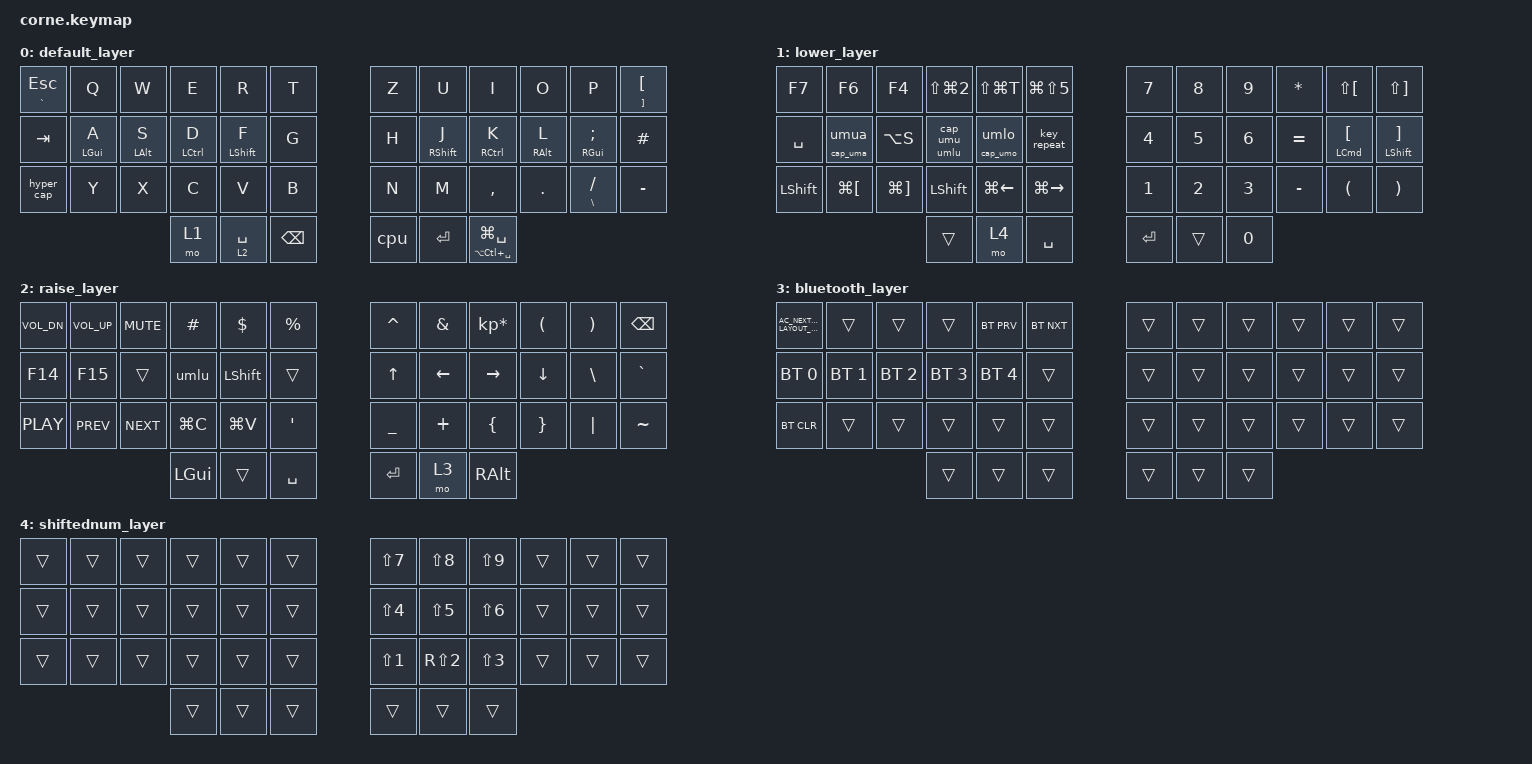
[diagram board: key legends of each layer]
/*
 * Copyright (c) 2020 The ZMK Contributors
 *
 * SPDX-License-Identifier: MIT
 */

#include <behaviors.dtsi>
#include <dt-bindings/zmk/bt.h>
#include <dt-bindings/zmk/keys.h>

/ {
    macros {
        umlu: u {
            compatible = "zmk,behavior-macro";
            #binding-cells = <0>;
            bindings = <&kp LA(U) &kp U>;
            label = "U";
        };

        umua: umua {
            compatible = "zmk,behavior-macro";
            #binding-cells = <0>;
            bindings = <&kp LA(U) &kp A>;
            label = "UMUA";
        };

        umlo: umlo {
            compatible = "zmk,behavior-macro";
            #binding-cells = <0>;
            bindings = <&kp LA(U) &kp O>;
            label = "UMLO";
        };

        cap_uma: alt_u_shift_a {
            compatible = "zmk,behavior-macro";
            #binding-cells = <0>;
            bindings =
                <&macro_press>,
                <&kp LA(U)>,
                <&macro_release>,
                <&macro_press>,
                <&kp LS(A)>,
                <&macro_release>;

            label = "ALT_U_SHIFT_A";
        };

        cap_umu: cap_umu {
            compatible = "zmk,behavior-macro";
            #binding-cells = <0>;
            bindings =
                <&macro_press>,
                <&kp LA(U)>,
                <&macro_release>,
                <&macro_press>,
                <&kp LS(U)>,
                <&macro_release>;

            label = "CAP_UMU";
        };

        cap_umo: cap_umo {
            compatible = "zmk,behavior-macro";
            #binding-cells = <0>;
            bindings =
                <&macro_press>,
                <&kp LA(U)>,
                <&macro_release>,
                <&macro_press>,
                <&kp LS(O)>,
                <&macro_release>;

            label = "CAP_UMO";
        };
    };

    behaviors {
        caps_blue: caps_blue {
            compatible = "zmk,behavior-tap-dance";
            label = "CAPS_BLUE";
            #binding-cells = <0>;
            bindings = <&caps_word>, <&sl 3>;
        };

        hm: homerow_mods {
            compatible = "zmk,behavior-hold-tap";
            label = "HOMEROW_MODS";
            #binding-cells = <2>;
            tapping-term-ms = <200>;
            quick-tap-ms = <(-5)>;
            flavor = "tap-preferred";
            bindings = <&kp>, <&kp>;
        };

        tap_umo: tap_umo {
            compatible = "zmk,behavior-hold-tap";
            label = "TAP_UMO";
            bindings = <&cap_umo>, <&umlo>;

            #binding-cells = <2>;
            hold-trigger-key-positions = <16>;
            flavor = "tap-preferred";
            tapping-term-ms = <180>;
        };

        tap_uma: tap_uma {
            compatible = "zmk,behavior-hold-tap";
            label = "TAP_UMA";
            bindings = <&cap_uma>, <&umua>;

            #binding-cells = <2>;
            hold-trigger-key-positions = <13>;
            flavor = "tap-preferred";
            tapping-term-ms = <180>;
        };

        tap_umu: tap_umu {
            compatible = "zmk,behavior-hold-tap";
            label = "TAP_UMU";
            bindings = <&umlu>, <&cap_umu>;

            #binding-cells = <2>;
            hold-trigger-key-positions = <15>;
            flavor = "tap-preferred";
            tapping-term-ms = <180>;
        };

        cpu: cpu {
            compatible = "zmk,behavior-tap-dance";
            label = "CPU";
            #binding-cells = <0>;
            bindings = <&kp LG(C)>, <&kp LG(V)>, <&kp LG(U)>;
        };

        hyper_cap: hyper_cap {
            compatible = "zmk,behavior-tap-dance";
            label = "HYPER_CAP";
            #binding-cells = <0>;
            bindings = <&sk LS(LA(LC(LEFT_GUI)))>, <&caps_word>;
        };
    };

    keymap {
        compatible = "zmk,keymap";

        default_layer {
            // -----------------------------------------------------------------------------------------
            // |  TAB |  Q  |  W  |  E  |  R  |  T  |   |  Y  |  U   |  I  |  O  |  P  | BKSP |
            // | CTRL |  A  |  S  |  D  |  F  |  G  |   |  H  |  J   |  K  |  L  |  ;  |  '   |
            // | SHFT |  Z  |  X  |  C  |  V  |  B  |   |  N  |  M   |  ,  |  .  |  /  | ESC  |
            //                    | GUI | LWR | SPC |   | ENT | RSE  | ALT |

            bindings = <
&mt GRAVE ESC  &kp Q       &kp W           &kp E        &kp R        &kp T            &kp Z  &kp U        &kp I                        &kp O       &kp P                &mt RIGHT_BRACKET LEFT_BRACKET
&kp TAB        &hm LGUI A  &hm LEFT_ALT S  &hm LCTRL D  &hm LSHFT F  &kp G            &kp H  &hm RSHFT J  &hm RCTRL K                  &hm RALT L  &hm RGUI SEMI        &kp HASH
&hyper_cap     &kp Y       &kp X           &kp C        &kp V        &kp B            &kp N  &kp M        &kp COMMA                    &kp DOT     &mt BACKSLASH SLASH  &kp MINUS
                                           &mo 1        &lt 2 SPACE  &kp BACKSPACE    &cpu   &kp ENTER    &mt LA(LC(SPACE)) LG(SPACE)
            >;
        };

        lower_layer {
            // -----------------------------------------------------------------------------------------
            // |  TAB |  1  |  2  |  3  |  4  |  5  |   |  6  |  7  |  8  |  9  |  0  | BKSP |
            // | BTCLR| BT1 | BT2 | BT3 | BT4 | BT5 |   | LFT | DWN |  UP | RGT |     |      |
            // | SHFT |     |     |     |     |     |   |     |     |     |     |     |      |
            //                    | GUI |     | SPC |   | ENT |     | ALT |

            bindings = <
&kp F7     &kp F6                &kp F4                 &kp LS(LG(N2))  &kp LS(LG(T))       &kp LG(LS(N5))    &kp N7   &kp N8  &kp N9  &kp ASTERISK  &kp LS(LBKT)           &kp LS(RBKT)
&kp SPACE  &tap_uma 0 0          &kp LA(S)              &tap_umu 0 0    &tap_umo 0 0        &key_repeat       &kp N4   &kp N5  &kp N6  &kp EQUAL     &mt LCMD LEFT_BRACKET  &mt LSHFT RIGHT_BRACKET
&kp LSHFT  &kp LG(LEFT_BRACKET)  &kp LG(RIGHT_BRACKET)  &kp LEFT_SHIFT  &kp LG(LEFT_ARROW)  &kp LG(RIGHT)     &kp N1   &kp N2  &kp N3  &kp MINUS     &kp LPAR               &kp RPAR
                                                        &trans          &mo 4               &kp SPACE         &kp RET  &trans  &kp N0
            >;
        };

        raise_layer {
            // -----------------------------------------------------------------------------------------
            // |  TAB |  !  |  @  |  #  |  $  |  %  |   |  ^  |  &  |  *  |  (  |  )  | BKSP |
            // | CTRL |     |     |     |     |     |   |  -  |  =  |  [  |  ]  |  \  |  `   |
            // | SHFT |     |     |     |     |     |   |  _  |  +  |  {  |  }  | "|" |  ~   |
            //                    | GUI |     | SPC |   | ENT |     | ALT |

            bindings = <
&kp C_VOL_DN  &kp C_VOL_UP  &kp K_MUTE  &kp HASH   &kp DLLR    &kp PRCNT           &kp CARET     &kp AMPS  &kp KP_MULTIPLY  &kp LPAR  &kp RPAR  &kp BSPC
&kp F14       &kp F15       &trans      &umlu      &kp LSHIFT  &trans              &kp UP_ARROW  &kp LEFT  &kp RIGHT        &kp DOWN  &kp BSLH  &kp GRAVE
&kp C_PLAY    &kp C_PREV    &kp C_NEXT  &kp LG(C)  &kp LG(V)   &kp SINGLE_QUOTE    &kp UNDER     &kp PLUS  &kp LBRC         &kp RBRC  &kp PIPE  &kp TILDE
                                        &kp LGUI   &trans      &kp SPACE           &kp RET       &mo 3     &kp RALT
            >;
        };

        bluetooth_layer {
            bindings = <
&kp C_AC_NEXT_KEYBOARD_LAYOUT_SELECT  &trans        &trans        &trans        &bt BT_PRV    &bt BT_NXT    &trans  &trans  &trans  &trans  &trans  &trans
&bt BT_SEL 0                          &bt BT_SEL 1  &bt BT_SEL 2  &bt BT_SEL 3  &bt BT_SEL 4  &trans        &trans  &trans  &trans  &trans  &trans  &trans
&bt BT_CLR                            &trans        &trans        &trans        &trans        &trans        &trans  &trans  &trans  &trans  &trans  &trans
                                                                  &trans        &trans        &trans        &trans  &trans  &trans
            >;
        };

        shiftednum_layer {
            bindings = <
&trans  &trans  &trans  &trans  &trans  &trans    &kp LS(N7)  &kp LS(N8)  &kp LS(N9)  &trans  &trans  &trans
&trans  &trans  &trans  &trans  &trans  &trans    &kp LS(N4)  &kp LS(N5)  &kp LS(N6)  &trans  &trans  &trans
&trans  &trans  &trans  &trans  &trans  &trans    &kp LS(N1)  &kp RS(N2)  &kp LS(N3)  &trans  &trans  &trans
                        &trans  &trans  &trans    &trans      &trans      &trans
            >;
        };
    };
};
